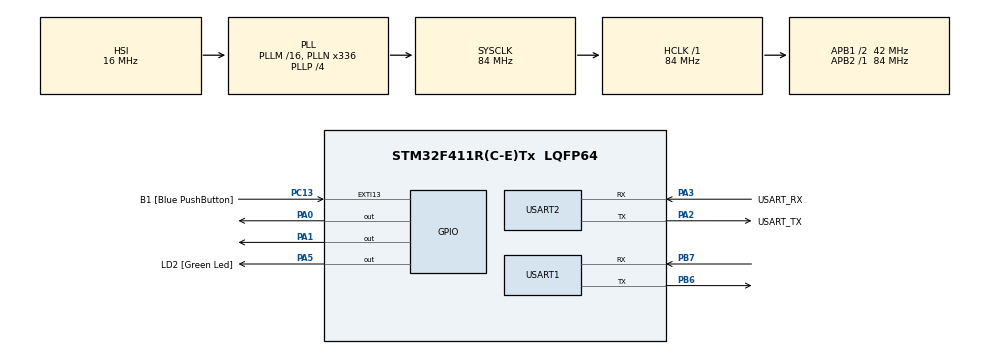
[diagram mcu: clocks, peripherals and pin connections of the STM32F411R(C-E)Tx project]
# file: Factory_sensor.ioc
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Mcu.Family=STM32F4
Mcu.Name=STM32F411R(C-E)Tx
Mcu.Package=LQFP64
NVIC.PriorityGroup=NVIC_PRIORITYGROUP_0
PA0-WKUP.Signal=GPIO_Output
PA1.Signal=GPIO_Output
PA13.GPIO_Label=TMS
PA13.Mode=Serial_Wire
PA13.Signal=SYS_JTMS-SWDIO
PA14.GPIO_Label=TCK
PA14.Mode=Serial_Wire
PA14.Signal=SYS_JTCK-SWCLK
PA2.GPIO_Label=USART_TX
PA2.Mode=Asynchronous
PA2.Signal=USART2_TX
PA3.GPIO_Label=USART_RX
PA3.Mode=Asynchronous
PA3.Signal=USART2_RX
PA5.GPIO_Label=LD2 [Green Led]
PA5.Signal=GPIO_Output
PB3.GPIO_Label=SWO
PB3.Signal=SYS_JTDO-SWO
PB6.Mode=Asynchronous
PB6.Signal=USART1_TX
PB7.Mode=Asynchronous
PB7.Signal=USART1_RX
PC13-ANTI_TAMP.GPIO_Label=B1 [Blue PushButton]
PC13-ANTI_TAMP.GPIO_ModeDefaultEXTI=GPIO_MODE_IT_FALLING
PC13-ANTI_TAMP.Signal=GPXTI13
PC14-OSC32_IN.Mode=LSE-External-Oscillator
PC14-OSC32_IN.Signal=RCC_OSC32_IN
PC15-OSC32_OUT.Mode=LSE-External-Oscillator
PC15-OSC32_OUT.Signal=RCC_OSC32_OUT
PH0\ -\ OSC_IN.Mode=HSE-External-Clock-Source
PH0\ -\ OSC_IN.Signal=RCC_OSC_IN
PH1\ -\ OSC_OUT.Mode=HSE-External-Clock-Source
PH1\ -\ OSC_OUT.Signal=RCC_OSC_OUT
ProjectManager.HeapSize=0x200
ProjectManager.StackSize=0x400
ProjectManager.TargetToolchain=STM32CubeIDE
RCC.48MHZClocksFreq_Value=84000000
RCC.AHBFreq_Value=84000000
RCC.APB1CLKDivider=RCC_HCLK_DIV2
RCC.APB1Freq_Value=42000000
RCC.APB1TimFreq_Value=84000000
RCC.APB2Freq_Value=84000000
RCC.APB2TimFreq_Value=84000000
RCC.CortexFreq_Value=84000000
RCC.FLatency-AdvancedSettings=FLASH_LATENCY_2
RCC.HCLKFreq_Value=84000000
RCC.HSE_VALUE=8000000
RCC.HSI_VALUE=16000000
RCC.PLLN=336
RCC.PLLP=RCC_PLLP_DIV4
RCC.SYSCLKFreq_VALUE=84000000
RCC.SYSCLKSource=RCC_SYSCLKSOURCE_PLLCLK
RCC.VCOOutputFreq_Value=336000000
USART1.VirtualMode=VM_ASYNC
USART2.VirtualMode=VM_ASYNC
VP_TIM1_VS_ClockSourceINT.Mode=Internal
board=NUCLEO-F411RE

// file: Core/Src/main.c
/* USER CODE BEGIN Header */
/**
  ******************************************************************************
  * @file           : main.c
  * @brief          : Main program body
  ******************************************************************************
  */
/* USER CODE END Header */
#include "main.h"

/* USER CODE BEGIN Includes */
#include "string.h"
#include "stdio.h"
#include "DHT11.h"
/* USER CODE END Includes */

TIM_HandleTypeDef htim1;
UART_HandleTypeDef huart1;
UART_HandleTypeDef huart2;

void SystemClock_Config(void);
static void MX_GPIO_Init(void);
static void MX_TIM1_Init(void);
static void MX_USART1_UART_Init(void);
static void MX_USART2_UART_Init(void);

int main(void)
{
  HAL_Init();
  SystemClock_Config();
  MX_GPIO_Init();
  MX_TIM1_Init();
  MX_USART1_UART_Init();
  MX_USART2_UART_Init();

  /* USER CODE BEGIN 2 */
  HAL_TIM_Base_Start(&htim1);  // 타이머 한 번만 시작
  DHT11_Init();
  /* USER CODE END 2 */

  /* USER CODE BEGIN WHILE */
  char tx_buf[32];

  while (1)
  {
	  HAL_UART_Transmit(&huart2, (uint8_t*)"[READ START]\r\n", 14, 100);
	  DHT11_Data dht = DHT11_Read();
	  HAL_UART_Transmit(&huart2, (uint8_t*)"[READ END]\r\n", 12, 100);

	  char tx_buf[32];
	  if (dht.valid) {
		  snprintf(tx_buf, sizeof(tx_buf), "%d,%d\r\n", dht.temperature, dht.humidity);
	  } else {
		  snprintf(tx_buf, sizeof(tx_buf), "ERR\r\n");
	  }

	  HAL_UART_Transmit(&huart1, (uint8_t*)tx_buf, strlen(tx_buf), 100);
	  HAL_UART_Transmit(&huart2, (uint8_t*)tx_buf, strlen(tx_buf), 100);
	  HAL_Delay(2000);
//      DHT11_Data dht = DHT11_Read();
//
//      if (dht.valid) {
//          snprintf(tx_buf, sizeof(tx_buf), "%d,%d\r\n", dht.temperature, dht.humidity);
//      } else {
//          snprintf(tx_buf, sizeof(tx_buf), "ERR\r\n");
//      }
//
//      HAL_UART_Transmit(&huart1, (uint8_t*)tx_buf, strlen(tx_buf), 100);
//      HAL_UART_Transmit(&huart2, (uint8_t*)tx_buf, strlen(tx_buf), 100);
//      HAL_Delay(2000);
  }
  /* USER CODE END WHILE */
}

void SystemClock_Config(void)
{
  RCC_OscInitTypeDef RCC_OscInitStruct = {0};
  RCC_ClkInitTypeDef RCC_ClkInitStruct = {0};

  __HAL_RCC_PWR_CLK_ENABLE();
  __HAL_PWR_VOLTAGESCALING_CONFIG(PWR_REGULATOR_VOLTAGE_SCALE1);

  RCC_OscInitStruct.OscillatorType = RCC_OSCILLATORTYPE_HSI;
  RCC_OscInitStruct.HSIState = RCC_HSI_ON;
  RCC_OscInitStruct.HSICalibrationValue = RCC_HSICALIBRATION_DEFAULT;
  RCC_OscInitStruct.PLL.PLLState = RCC_PLL_ON;
  RCC_OscInitStruct.PLL.PLLSource = RCC_PLLSOURCE_HSI;
  RCC_OscInitStruct.PLL.PLLM = 16;
  RCC_OscInitStruct.PLL.PLLN = 336;
  RCC_OscInitStruct.PLL.PLLP = RCC_PLLP_DIV4;
  RCC_OscInitStruct.PLL.PLLQ = 4;
  if (HAL_RCC_OscConfig(&RCC_OscInitStruct) != HAL_OK) Error_Handler();

  RCC_ClkInitStruct.ClockType = RCC_CLOCKTYPE_HCLK|RCC_CLOCKTYPE_SYSCLK
                              |RCC_CLOCKTYPE_PCLK1|RCC_CLOCKTYPE_PCLK2;
  RCC_ClkInitStruct.SYSCLKSource = RCC_SYSCLKSOURCE_PLLCLK;
  RCC_ClkInitStruct.AHBCLKDivider = RCC_SYSCLK_DIV1;
  RCC_ClkInitStruct.APB1CLKDivider = RCC_HCLK_DIV2;
  RCC_ClkInitStruct.APB2CLKDivider = RCC_HCLK_DIV1;
  if (HAL_RCC_ClockConfig(&RCC_ClkInitStruct, FLASH_LATENCY_2) != HAL_OK) Error_Handler();
}

static void MX_TIM1_Init(void)
{
  TIM_ClockConfigTypeDef sClockSourceConfig = {0};
  TIM_MasterConfigTypeDef sMasterConfig = {0};

  htim1.Instance = TIM1;
  htim1.Init.Prescaler = 84 - 1;
  htim1.Init.CounterMode = TIM_COUNTERMODE_UP;
  htim1.Init.Period = 65535;
  htim1.Init.ClockDivision = TIM_CLOCKDIVISION_DIV1;
  htim1.Init.RepetitionCounter = 0;
  htim1.Init.AutoReloadPreload = TIM_AUTORELOAD_PRELOAD_DISABLE;
  if (HAL_TIM_Base_Init(&htim1) != HAL_OK) Error_Handler();

  sClockSourceConfig.ClockSource = TIM_CLOCKSOURCE_INTERNAL;
  if (HAL_TIM_ConfigClockSource(&htim1, &sClockSourceConfig) != HAL_OK) Error_Handler();

  sMasterConfig.MasterOutputTrigger = TIM_TRGO_RESET;
  sMasterConfig.MasterSlaveMode = TIM_MASTERSLAVEMODE_DISABLE;
  if (HAL_TIMEx_MasterConfigSynchronization(&htim1, &sMasterConfig) != HAL_OK) Error_Handler();
}

static void MX_USART1_UART_Init(void)
{
  huart1.Instance = USART1;
  huart1.Init.BaudRate = 115200;
  huart1.Init.WordLength = UART_WORDLENGTH_8B;
  huart1.Init.StopBits = UART_STOPBITS_1;
  huart1.Init.Parity = UART_PARITY_NONE;
  huart1.Init.Mode = UART_MODE_TX_RX;
  huart1.Init.HwFlowCtl = UART_HWCONTROL_NONE;
  huart1.Init.OverSampling = UART_OVERSAMPLING_16;
  if (HAL_UART_Init(&huart1) != HAL_OK) Error_Handler();
}

static void MX_USART2_UART_Init(void)
{
  huart2.Instance = USART2;
  huart2.Init.BaudRate = 115200;
  huart2.Init.WordLength = UART_WORDLENGTH_8B;
  huart2.Init.StopBits = UART_STOPBITS_1;
  huart2.Init.Parity = UART_PARITY_NONE;
  huart2.Init.Mode = UART_MODE_TX_RX;
  huart2.Init.HwFlowCtl = UART_HWCONTROL_NONE;
  huart2.Init.OverSampling = UART_OVERSAMPLING_16;
  if (HAL_UART_Init(&huart2) != HAL_OK) Error_Handler();
}

static void MX_GPIO_Init(void)
{
  GPIO_InitTypeDef GPIO_InitStruct = {0};

  __HAL_RCC_GPIOC_CLK_ENABLE();
  __HAL_RCC_GPIOH_CLK_ENABLE();
  __HAL_RCC_GPIOA_CLK_ENABLE();
  __HAL_RCC_GPIOB_CLK_ENABLE();

  HAL_GPIO_WritePin(GPIOA, GPIO_PIN_0|GPIO_PIN_1|LD2_Pin, GPIO_PIN_RESET);

  GPIO_InitStruct.Pin = B1_Pin;
  GPIO_InitStruct.Mode = GPIO_MODE_IT_FALLING;
  GPIO_InitStruct.Pull = GPIO_NOPULL;
  HAL_GPIO_Init(B1_GPIO_Port, &GPIO_InitStruct);

  GPIO_InitStruct.Pin = GPIO_PIN_0|GPIO_PIN_1|LD2_Pin;
  GPIO_InitStruct.Mode = GPIO_MODE_OUTPUT_PP;
  GPIO_InitStruct.Pull = GPIO_NOPULL;
  GPIO_InitStruct.Speed = GPIO_SPEED_FREQ_LOW;
  HAL_GPIO_Init(GPIOA, &GPIO_InitStruct);
}

void Error_Handler(void)
{
  __disable_irq();
  while (1) {}
}
